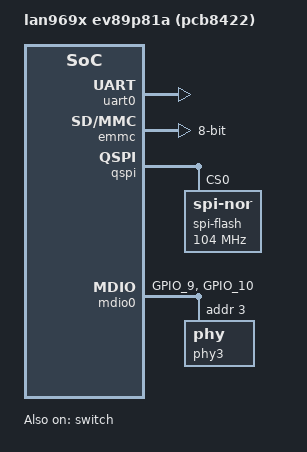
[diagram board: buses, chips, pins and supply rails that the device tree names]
/dts-v1/;

#include "lan969x_a0.dtsi"
#include "lan969x.dtsi"

#include <dt-bindings/mscc/sparx5_data.h>

/ {
	model = "lan969x ev89p81a (pcb8422)";
};

&uart0 {
	status = "okay";
	pinctrl-0 = <&fc0_pins>;
	pinctrl-names = "default";
};

&emmc {
	status = "okay";
	pinctrl-0 = <&emmc_sd_pins>;
	pinctrl-names = "default";
	bus-width = <8>;
};

&qspi {
	status = "okay";
	spi-flash@0 {
		status = "okay";
		compatible = "jedec,spi-nor";
		reg = <0>;
		spi-max-frequency = <104000000>;
		u-boot,dm-pre-reloc;
		m25p,fast-read;
		spi-tx-bus-width = <1>;
		spi-rx-bus-width = <4>;
	};
};

&gpio {
	mdio_pins: mdio-pins {
		pins = "GPIO_9", "GPIO_10";
		function = "miim";
	};
};

&mdio0 {
	pinctrl-0 = <&mdio_pins>;
	pinctrl-names = "default";
	status = "okay";

	phy3: phy@3 {
		reg = <3>;
	};
};

&switch {
	status = "okay";
	ethernet-ports {
		port29: port@29 {
			reg = <29>;
			phy-handle = <&phy3>;
			phys = <IF_RGMII>;
		};
	};
};
